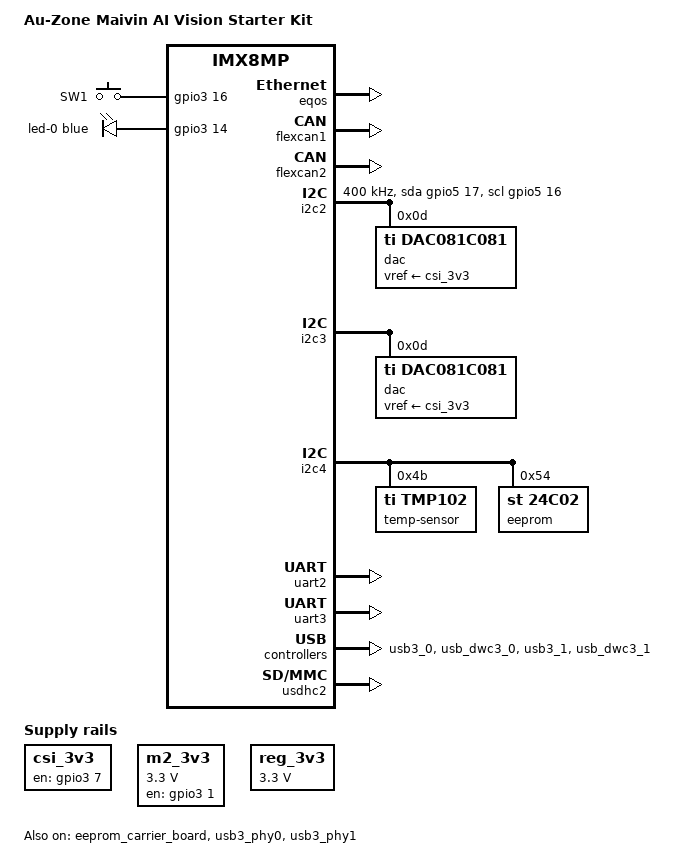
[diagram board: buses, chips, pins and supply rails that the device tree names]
// SPDX-License-Identifier: GPL-2.0+ OR MIT
/*
 * Copyright 2021 Au-Zone Technologies
 * Copyright 2024 Ideas on Board
 */

/dts-v1/;

#include <dt-bindings/gpio/gpio.h>
#include <dt-bindings/input/linux-event-codes.h>
#include <dt-bindings/leds/common.h>

#include "imx8mp-verdin.dtsi"
#include "imx8mp-verdin-nonwifi.dtsi"

/ {
	model = "Au-Zone Maivin AI Vision Starter Kit";
	compatible = "au-zone,maivin-starter-kit",
		     "toradex,verdin-imx8mp-nonwifi",
		     "toradex,verdin-imx8mp",
		     "fsl,imx8mp";

	gpio-keys {
		compatible = "gpio-keys";
		pinctrl-0 = <&pinctrl_sw1>;

		button-0 {
			label = "SW1";
			linux,code = <BTN_MISC>;
			interrupts-extended = <&gpio3 16 IRQ_TYPE_LEVEL_LOW>;
		};
	};

	leds {
		compatible = "gpio-leds";
		pinctrl-0 = <&pinctrl_led>;

		led-0 {
			color = <LED_COLOR_ID_BLUE>;
			function = LED_FUNCTION_STATUS;
			linux,default-trigger = "heartbeat";
			gpios = <&gpio3 14 GPIO_ACTIVE_HIGH>;
		};
	};

	csi_3v3: regulator-csi-3v3 {
		compatible = "regulator-fixed";
		regulator-name = "CSI_3V3";
		pinctrl-0 = <&pinctrl_csi_3v3>;
		gpio = <&gpio3 7 GPIO_ACTIVE_HIGH>;
		enable-active-high;
		startup-delay-us = <50000>;	/* TODO: Determine the right value */
	};

	m2_3v3: regulator-m2-3v3 {
		compatible = "regulator-fixed";
		regulator-name = "M2_3V3";
		regulator-max-microvolt = <3300000>;
		regulator-min-microvolt = <3300000>;
		pinctrl-0 = <&pinctrl_m2_3v3>;
		gpio = <&gpio3 1 GPIO_ACTIVE_HIGH>;
		enable-active-high;
	};

	/* Carrier Board Supply 3V3_SW */
	reg_3v3: regulator-3v3-sw {
		compatible = "regulator-fixed";
		regulator-max-microvolt = <3300000>;
		regulator-min-microvolt = <3300000>;
		regulator-name = "3V3_SW";
	};
};

&eqos {
	status = "okay";
};

/* Verdin CAN_1 */
&flexcan1 {
	status = "okay";
};

/* Verdin CAN_2 */
&flexcan2 {
	status = "okay";
};

/* Verdin I2C_2_DSI */
&i2c2 {
	status = "okay";

	clock-frequency = <400000>;
	scl-gpios = <&gpio5 16 (GPIO_ACTIVE_HIGH | GPIO_OPEN_DRAIN)>;
	sda-gpios = <&gpio5 17 (GPIO_ACTIVE_HIGH | GPIO_OPEN_DRAIN)>;

	dac@d {
		compatible = "ti,dac081c081";
		reg = <0x0d>;
		vref-supply = <&csi_3v3>;
	};
};

/* Verdin I2C_4_CSI */
&i2c3 {
	status = "okay";

	dac@d {
		compatible = "ti,dac081c081";
		reg = <0x0d>;
		vref-supply = <&csi_3v3>;
	};
};

/* Verdin I2C_1 */
&i2c4 {
	status = "okay";

	temp-sensor@4b {
		compatible = "ti,tmp102";
		reg = <0x4b>;
	};

	/* EEPROM on the rear connector interface */
	eeprom@54 {
		compatible = "st,24c02", "atmel,24c02";
		pagesize = <16>;
		reg = <0x54>;
	};
};

/* EEPROM on the carrier board */
&eeprom_carrier_board {
	status = "okay";
};

&iomuxc {
	pinctrl_csi_3v3: csi-3v3-grp {
		fsl,pins = <
			MX8MP_IOMUXC_NAND_DATA01__GPIO3_IO07		0x184	/* SODIMM 58 */
		>;
	};

	gpio7grp {
		fsl,pins = <
			MX8MP_IOMUXC_SAI1_RXD1__GPIO4_IO03		0x82	/* SODIMM 220 */
		>;
	};

	gpio8grp {
		fsl,pins = <
			MX8MP_IOMUXC_SAI1_RXC__GPIO4_IO01		0x82	/* SODIMM 222 */
		>;
	};

	pinctrl_led: ledgrp {
		fsl,pins = <
			MX8MP_IOMUXC_NAND_DQS__GPIO3_IO14		0x82	/* SODIMM 66 */
		>;
	};

	/* M.2 power off and reset */
	pinctrl_m2: m2grp {
		fsl,pins = <
			MX8MP_IOMUXC_NAND_DATA00__GPIO3_IO06		0x82	/* SODIMM 56 */
			MX8MP_IOMUXC_NAND_DATA03__GPIO3_IO09		0x82	/* SODIMM 62 */
		>;
	};

	pinctrl_m2_3v3: m2-3v3-grp {
		fsl,pins = <
			MX8MP_IOMUXC_NAND_CE0_B__GPIO3_IO01		0x82	/* SODIMM 54 */
		>;
	};

	pinctrl_sw1: sw1grp {
		fsl,pins = <
			/*
			 * SW1 shortens the pin to ground when pressed, enable
			 * the internal pull-up.
			 */
			MX8MP_IOMUXC_NAND_READY_B__GPIO3_IO16		0x1c0	/* SODIMM 64 */
		>;
	};
};

&reg_usdhc2_vmmc {
	vin-supply = <&reg_3v3>;
};

/* Verdin UART_1 */
/* Enabling RS-485 operation */
&uart1 {
	fsl,uart-has-rtscts;
	linux,rs485-enabled-at-boot-time;
};

/* Verdin UART_2, for M.2 card slot */
&uart2 {
	status = "okay";
};

/* Verdin UART_3, used as the Linux Console */
&uart3 {
	status = "okay";
};

/* Verdin USB_1, USB recovery */
&usb3_phy0 {
	status = "okay";
};

&usb3_0 {
	status = "okay";
};

&usb_dwc3_0 {
	status = "okay";
};

/* Verdin USB_2, for M.2 card slot */
&usb3_phy1 {
	status = "okay";
};

&usb3_1 {
	status = "okay";
};

&usb_dwc3_1 {
	status = "okay";
};

/* Verdin SD_1, for SD card slot */
&usdhc2 {
	status = "okay";
};
